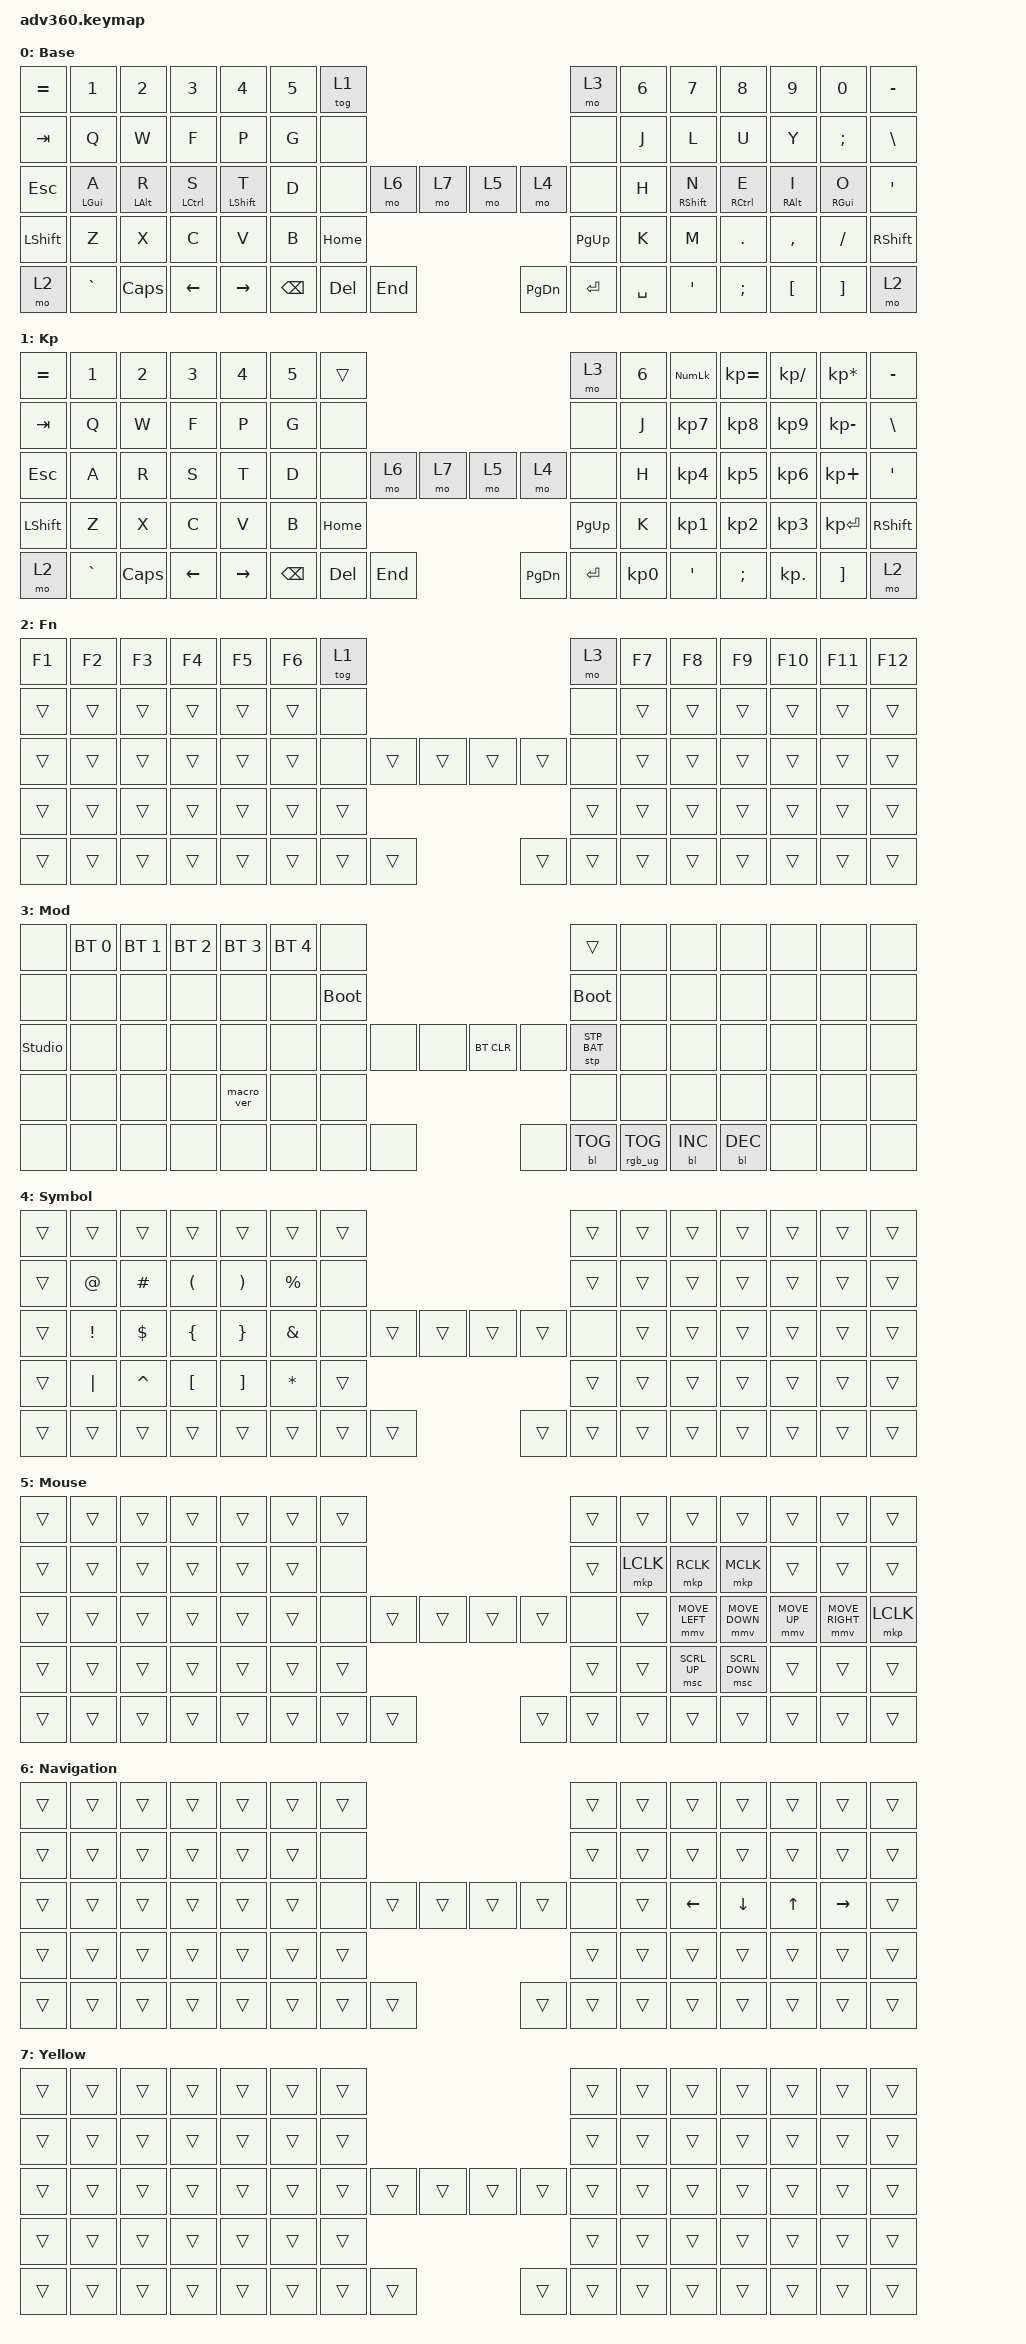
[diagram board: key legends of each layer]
#include <behaviors.dtsi>
#include <dt-bindings/zmk/keys.h>
#include <dt-bindings/zmk/bt.h>
#include <dt-bindings/zmk/rgb.h>
#include <dt-bindings/zmk/stp.h>
#include <dt-bindings/zmk/backlight.h>
#include <dt-bindings/zmk/pointing.h>

// Key positions for positional hold-tap (timeless home row mods).
// See assets/key-positions.md for the physical layout.
#define KEYS_L   0  1  2  3  4  5  6  \
                14 15 16 17 18 19 20  \
                28 29 30 31 32 33 34  \
                46 47 48 49 50 51     \
                60 61 62 63 64
#define KEYS_R   7  8  9 10 11 12 13  \
                21 22 23 24 25 26 27  \
                39 40 41 42 43 44 45  \
                   54 55 56 57 58 59  \
                      71 72 73 74 75
#define THUMBS  35 36 37 38 52 53 65 66 67 68 69 70

/ {
    behaviors {
      #include "macros.dtsi"
      #include "version.dtsi"

      // Timeless home row mods (urob-style):
      // - flavor "balanced" resolves holds on the next key press/release
      // - require-prior-idle-ms suppresses the hold during fast typing streams,
      //   making the mods effectively independent of tapping-term ("timeless")
      // - hold-trigger-key-positions limits holds to opposite-hand keys + thumbs
      // - hold-trigger-on-release lets you chain multiple mods together
      hml: home_row_mod_left {
          compatible = "zmk,behavior-hold-tap";
          label = "HOME_ROW_MOD_LEFT";
          #binding-cells = <2>;
          flavor = "balanced";
          tapping-term-ms = <280>;
          quick-tap-ms = <175>;
          require-prior-idle-ms = <150>;
          hold-trigger-key-positions = <KEYS_R THUMBS>;
          hold-trigger-on-release;
          bindings = <&kp>, <&kp>;
      };

      hmr: home_row_mod_right {
          compatible = "zmk,behavior-hold-tap";
          label = "HOME_ROW_MOD_RIGHT";
          #binding-cells = <2>;
          flavor = "balanced";
          tapping-term-ms = <280>;
          quick-tap-ms = <175>;
          require-prior-idle-ms = <150>;
          hold-trigger-key-positions = <KEYS_L THUMBS>;
          hold-trigger-on-release;
          bindings = <&kp>, <&kp>;
      };
    };

  keymap {
    compatible = "zmk,keymap";

    default_layer {
      display-name = "Base";
      bindings = <
        &kp EQUAL      &kp N1       &kp N2       &kp N3       &kp N4       &kp N5       &tog 1                                                                      &mo 3        &kp N6   &kp N7       &kp N8       &kp N9        &kp N0          &kp MINUS
        &kp TAB        &kp Q        &kp W        &kp F        &kp P        &kp G        &none                                                                       &none        &kp J    &kp L        &kp U        &kp Y         &kp SEMI        &kp BSLH
        &kp ESC        &hml LGUI A  &hml LALT R  &hml LCTRL S &hml LSHFT T &kp D        &none                          &mo 6  &mo 7  &mo 5  &mo 4                   &none        &kp H    &hmr RSHFT N &hmr RCTRL E &hmr RALT I   &hmr RGUI O     &kp SQT
        &kp LSHFT      &kp Z        &kp X        &kp C        &kp V        &kp B                                          &kp HOME  &kp PG_UP                                    &kp K    &kp M        &kp DOT      &kp COMMA     &kp FSLH        &kp RSHFT
        &mo 2          &kp GRAVE    &kp CAPS     &kp LEFT     &kp RIGHT                               &kp BSPC  &kp DEL  &kp END  &kp PG_DN  &kp ENTER  &kp SPACE                         &kp SQT      &kp SEMI     &kp LBKT      &kp RBKT        &mo 2
      >;
    };
    keypad {
      display-name = "Kp";
      bindings = <
        &kp EQUAL      &kp N1       &kp N2       &kp N3       &kp N4       &kp N5       &trans                                                                      &mo 3        &kp N6   &kp KP_NUM   &kp KP_EQUAL &kp KP_DIVIDE &kp KP_MULTIPLY &kp MINUS
        &kp TAB        &kp Q        &kp W        &kp F        &kp P        &kp G        &none                                                                       &none        &kp J    &kp KP_N7    &kp KP_N8    &kp KP_N9     &kp KP_MINUS    &kp BSLH
        &kp ESC        &kp A        &kp R        &kp S        &kp T        &kp D        &none                          &mo 6  &mo 7  &mo 5  &mo 4                   &none        &kp H    &kp KP_N4    &kp KP_N5    &kp KP_N6     &kp KP_PLUS     &kp SQT
        &kp LSHFT      &kp Z        &kp X        &kp C        &kp V        &kp B                                          &kp HOME  &kp PG_UP                                    &kp K    &kp KP_N1    &kp KP_N2    &kp KP_N3     &kp KP_ENTER    &kp RSHFT
        &mo 2          &kp GRAVE    &kp CAPS     &kp LEFT     &kp RIGHT                               &kp BSPC  &kp DEL  &kp END  &kp PG_DN  &kp ENTER  &kp KP_N0                         &kp SQT      &kp SEMI     &kp KP_DOT    &kp RBKT        &mo 2
      >;
    };
    fn {
      display-name = "Fn";
      bindings = <
        &kp F1         &kp F2       &kp F3       &kp F4       &kp F5       &kp F6       &tog 1                                                                      &mo 3        &kp F7   &kp F8       &kp F9       &kp F10       &kp F11         &kp F12
        &trans         &trans       &trans       &trans       &trans       &trans       &none                                                                       &none        &trans   &trans       &trans       &trans        &trans          &trans
        &trans         &trans       &trans       &trans       &trans       &trans       &none                        &trans  &trans  &trans  &trans                 &none        &trans   &trans       &trans       &trans        &trans          &trans
        &trans         &trans       &trans       &trans       &trans       &trans                                            &trans  &trans                                      &trans   &trans       &trans       &trans        &trans          &trans
        &trans         &trans       &trans       &trans       &trans                                         &trans  &trans  &trans  &trans  &trans  &trans                               &trans       &trans       &trans        &trans          &trans
      >;
    };
    mod {
      display-name = "Mod";
      bindings = <
        &none          &bt BT_SEL 0 &bt BT_SEL 1 &bt BT_SEL 2 &bt BT_SEL 3 &bt BT_SEL 4 &none                                                                       &trans       &none    &none        &none        &none         &none           &none
        &none          &none        &none        &none        &none        &none        &bootloader                                                                 &bootloader  &none    &none        &none        &none         &none           &none
        &studio_unlock &none        &none        &none        &none        &none        &none                       &none  &none  &bt BT_CLR  &none                 &stp STP_BAT &none    &none        &none        &none         &none           &none
        &none          &none        &none        &none        &macro_ver   &none                                              &none  &none                                       &none    &none        &none        &none         &none           &none
        &none          &none        &none        &none        &none                                     &none  &none  &none  &none  &bl BL_TOG  &rgb_ug RGB_TOG                           &bl BL_INC   &bl BL_DEC   &none         &none           &none
      >;
    };
    extra1 {
      display-name = "Symbol";
      bindings = <
        &trans         &trans       &trans       &trans       &trans       &trans       &trans                                                                      &trans       &trans   &trans       &trans       &trans        &trans          &trans
        &trans         &kp AT       &kp HASH     &kp LPAR     &kp RPAR     &kp PRCNT    &none                                                                       &trans       &trans   &trans       &trans       &trans        &trans          &trans
        &trans         &kp EXCL     &kp DLLR     &kp LBRC     &kp RBRC     &kp AMPS     &none                        &trans  &trans  &trans  &trans                 &none        &trans   &trans       &trans       &trans        &trans          &trans
        &trans         &kp PIPE     &kp CARET    &kp LBKT     &kp RBKT     &kp STAR                                         &trans  &trans                                      &trans   &trans       &trans       &trans        &trans          &trans
        &trans         &trans       &trans       &trans       &trans                                         &trans  &trans  &trans  &trans  &trans  &trans                               &trans       &trans       &trans        &trans          &trans
      >;
    };
    extra2 {
      display-name = "Mouse";
      bindings = <
        &trans         &trans       &trans       &trans       &trans       &trans       &trans                                                                      &trans       &trans   &trans       &trans       &trans        &trans          &trans
        &trans         &trans       &trans       &trans       &trans       &trans       &none                                                                       &trans       &mkp LCLK &mkp RCLK    &mkp MCLK    &trans        &trans          &trans
        &trans         &trans       &trans       &trans       &trans       &trans       &none                        &trans  &trans  &trans  &trans                 &none        &trans   &mmv MOVE_LEFT &mmv MOVE_DOWN &mmv MOVE_UP &mmv MOVE_RIGHT &mkp LCLK
        &trans         &trans       &trans       &trans       &trans       &trans                                            &trans  &trans                                      &trans   &msc SCRL_UP &msc SCRL_DOWN &trans       &trans          &trans
        &trans         &trans       &trans       &trans       &trans                                         &trans  &trans  &trans  &trans  &trans  &trans                               &trans       &trans       &trans        &trans          &trans
      >;
    };
    extra3 {
      display-name = "Navigation";
      bindings = <
        &trans         &trans       &trans       &trans       &trans       &trans       &trans                                                                      &trans       &trans   &trans       &trans       &trans        &trans          &trans
        &trans         &trans       &trans       &trans       &trans       &trans       &none                                                                       &trans       &trans   &trans       &trans       &trans        &trans          &trans
        &trans         &trans       &trans       &trans       &trans       &trans       &none                        &trans  &trans  &trans  &trans                 &none        &trans   &kp LEFT     &kp DOWN     &kp UP        &kp RIGHT       &trans
        &trans         &trans       &trans       &trans       &trans       &trans                                            &trans  &trans                                      &trans   &trans       &trans       &trans        &trans          &trans
        &trans         &trans       &trans       &trans       &trans                                         &trans  &trans  &trans  &trans  &trans  &trans                               &trans       &trans       &trans        &trans          &trans
      >;
    };
    extra4 {
      display-name = "Yellow";
      bindings = <
        &trans         &trans       &trans       &trans       &trans       &trans       &trans                                                                      &trans       &trans   &trans       &trans       &trans        &trans          &trans
        &trans         &trans       &trans       &trans       &trans       &trans       &trans                                                                      &trans       &trans   &trans       &trans       &trans        &trans          &trans
        &trans         &trans       &trans       &trans       &trans       &trans       &trans                       &trans  &trans  &trans  &trans                 &trans       &trans   &trans       &trans       &trans        &trans          &trans
        &trans         &trans       &trans       &trans       &trans       &trans                                            &trans  &trans                                      &trans   &trans       &trans       &trans        &trans          &trans
        &trans         &trans       &trans       &trans       &trans                                         &trans  &trans  &trans  &trans  &trans  &trans                               &trans       &trans       &trans        &trans          &trans
      >;
    };
  };
};
